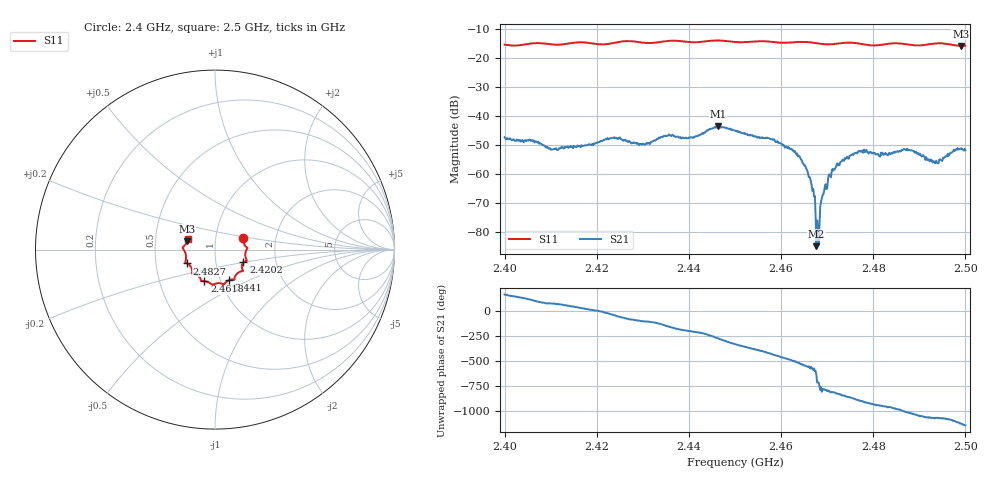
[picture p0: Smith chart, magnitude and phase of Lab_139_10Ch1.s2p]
# Hz S RI R 50
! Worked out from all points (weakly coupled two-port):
!   601 points, 2.4 GHz to 2.5 GHz, reference 50 ohm
!   highest |S21| = -43.56 dB at 2.4463 GHz (marker M1); lowest = -85.0 dB at 2.4677 GHz (marker M2)
!   lowest |S11| = -15.8 dB at 2.499 GHz (marker M3), VSWR 1.39, Z = 36.4 + j3.47 ohm
!   |S11| at or under -10 dB: start of sweep to end of sweep
!   S12 and S22 are empty: the file has one direction only
!   S11 on the Smith chart (normalised r, x): 2.4 GHz: 1.36, +0.18; 2.4202 GHz: 1.36, -0.20; 2.441 GHz: 1.10, -0.39; 2.4618 GHz: 0.84, -0.30; 2.4827 GHz: 0.72, -0.11; 2.5 GHz: 0.73, +0.09
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2.4e9  0.1582 0.0628  -0.00421 0.000744  0 0  0 0
2.416667e9  0.1771 -0.0608  0.00262 0.00168  0 0  0 0
2.420167e9  0.1586 -0.0712  0.00339 0.000384  0 0  0 0
2.433333e9  0.1115 -0.1509  -0.00212 -0.00339  0 0  0 0
2.441e9  0.0787 -0.1698  -0.00385 0.00189  0 0  0 0
2.446333e9  0.0491 -0.1953  0.000221 0.00663  0 0  0 0
2.45e9  0.0285 -0.1875  0.00478 0.00285  0 0  0 0
2.461833e9  -0.0592 -0.1754  -0.00153 -0.0023  0 0  0 0
2.464333e9  -0.0746 -0.1749  -0.00173 -0.000275  0 0  0 0
2.466667e9  -0.0786 -0.1682  -0.000494 0.000369  0 0  0 0
2.467667e9  -0.081 -0.1616  1.44e-05 5.4e-05  0 0  0 0
2.468167e9  -0.0829 -0.158  5.91e-05 1.48e-06  0 0  0 0
2.469167e9  -0.0884 -0.1501  0.000172 -0.000405  0 0  0 0
2.470667e9  -0.1009 -0.1403  -6.77e-05 -0.000935  0 0  0 0
2.4725e9  -0.117 -0.1348  -0.000505 -0.00138  0 0  0 0
2.477167e9  -0.1269 -0.123  -0.00241 8.92e-05  0 0  0 0
2.482667e9  -0.1559 -0.0771  -0.00129 0.00189  0 0  0 0
2.483333e9  -0.16 -0.0751  -0.00107 0.00194  0 0  0 0
2.487833e9  -0.1618 -0.0517  0.00143 0.00214  0 0  0 0
2.493667e9  -0.1796 0.0078  0.00166 0.00026  0 0  0 0
2.499e9  -0.1555 0.0464  0.00182 -0.00199  0 0  0 0
2.5e9  -0.1521 0.0606  0.000956 -0.00237  0 0  0 0
